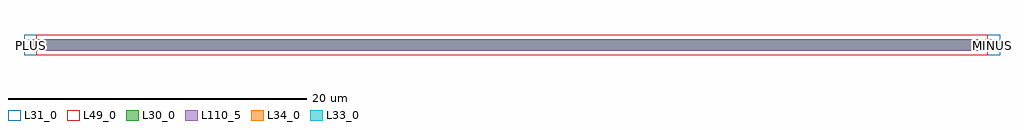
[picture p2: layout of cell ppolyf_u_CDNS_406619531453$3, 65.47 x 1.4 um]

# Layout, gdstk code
import gdstk
lib = gdstk.Library(unit=1e-6, precision=1e-09)
def R(c, l, rs):  # rectangles x0, y0, x1, y1
    for r in rs: c.add(gdstk.rectangle(r[:2], r[2:], *l))
L30_0 = (30, 0)
L31_0 = (31, 0)
L33_0 = (33, 0)
L34_0 = (34, 0)
L49_0 = (49, 0)
L110_5 = (110, 5)

ppolyf_u_cdns_4066195314 = lib.new_cell('ppolyf_u_CDNS_406619531453$3')
R(ppolyf_u_cdns_4066195314, L30_0, [(0,0,64.875,0.8)])
R(ppolyf_u_cdns_4066195314, L31_0, [(-0.3,-0.3,65.175,1.1)])
R(ppolyf_u_cdns_4066195314, L33_0, [(0.07,0.29,0.29,0.51), (64.585,0.29,64.805,0.51)])
R(ppolyf_u_cdns_4066195314, L34_0, [(0.01,0.01,0.35,0.79), (0.01,0.01,0.35,0.79), (64.525,0.01,64.865,0.79), (64.525,0.01,64.865,0.79)])
R(ppolyf_u_cdns_4066195314, L49_0, [(0.51,-0.28,64.365,1.08)])
R(ppolyf_u_cdns_4066195314, L110_5, [(0.51,0,64.365,0.8)])
ppolyf_u_cdns_4066195314.add(gdstk.Label('PLUS', (0.18,0.4), layer=34, texttype=0))
ppolyf_u_cdns_4066195314.add(gdstk.Label('MINUS', (64.695,0.4), layer=34, texttype=0))

lib.write_gds('ppolyf_u_CDNS_406619531453_3.gds')
